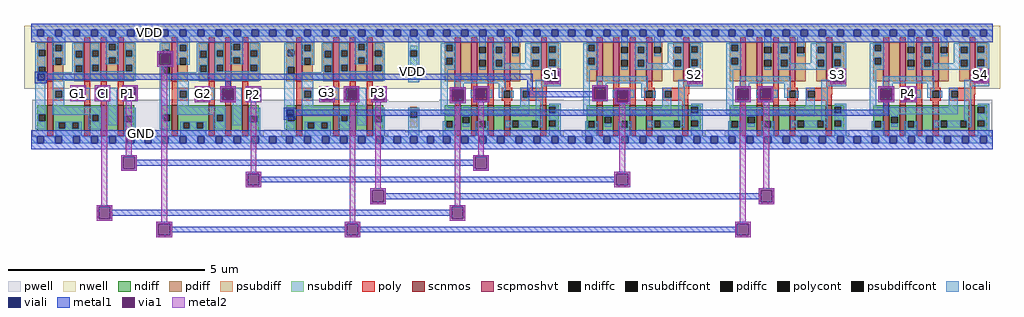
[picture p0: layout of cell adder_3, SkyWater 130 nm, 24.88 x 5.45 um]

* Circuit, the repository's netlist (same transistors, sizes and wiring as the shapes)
* NGSPICE file created from adder_3.ext - technology: sky130A

.subckt sky130_fd_sc_hd__xor2_1 A B VGND VNB VPB VPWR X
X0 X a_35_297# a_285_297# VPB sky130_fd_pr__pfet_01v8_hvt ad=0.3 pd=2.6 as=0.177 ps=1.69 w=1 l=0.15
**devattr s=10400,504 d=12000,520
X1 X B a_285_47# VNB sky130_fd_pr__nfet_01v8 ad=0.25 pd=1.42 as=0.0878 ps=0.92 w=0.65 l=0.15
**devattr s=3510,184 d=10010,284
X2 a_35_297# B VGND VNB sky130_fd_pr__nfet_01v8 ad=0.0878 pd=0.92 as=0.138 ps=1.4 w=0.65 l=0.15
**devattr s=6760,364 d=3510,184
X3 a_117_297# B a_35_297# VPB sky130_fd_pr__pfet_01v8_hvt ad=0.135 pd=1.27 as=0.26 ps=2.52 w=1 l=0.15
**devattr s=10400,504 d=5400,254
X4 VPWR B a_285_297# VPB sky130_fd_pr__pfet_01v8_hvt ad=0.177 pd=1.69 as=0.177 ps=1.69 w=1 l=0.15
**devattr s=5400,254 d=10400,504
X5 VGND A a_35_297# VNB sky130_fd_pr__nfet_01v8 ad=0.138 pd=1.4 as=0.0878 ps=0.92 w=0.65 l=0.15
**devattr s=3510,184 d=3510,184
X6 VGND a_35_297# X VNB sky130_fd_pr__nfet_01v8 ad=0.138 pd=1.4 as=0.25 ps=1.42 w=0.65 l=0.15
**devattr s=10010,284 d=8320,388
X7 a_285_297# A VPWR VPB sky130_fd_pr__pfet_01v8_hvt ad=0.177 pd=1.69 as=0.177 ps=1.69 w=1 l=0.15
**devattr s=5400,254 d=5400,254
X8 VPWR A a_117_297# VPB sky130_fd_pr__pfet_01v8_hvt ad=0.177 pd=1.69 as=0.135 ps=1.27 w=1 l=0.15
**devattr s=5400,254 d=5400,254
X9 a_285_47# A VGND VNB sky130_fd_pr__nfet_01v8 ad=0.0878 pd=0.92 as=0.138 ps=1.4 w=0.65 l=0.15
**devattr s=3510,184 d=3510,184
.ends

.subckt sky130_fd_sc_hd__a21o_1 A1 A2 B1 VGND VNB VPB VPWR X
X0 a_81_21# B1 VGND VNB sky130_fd_pr__nfet_01v8 ad=0.0894 pd=0.925 as=0.229 ps=1.57 w=0.65 l=0.15
**devattr s=10270,288 d=3575,185
X1 a_299_297# B1 a_81_21# VPB sky130_fd_pr__pfet_01v8_hvt ad=0.18 pd=1.69 as=0.26 ps=2.52 w=1 l=0.15
**devattr s=10400,504 d=5500,255
X2 VPWR a_81_21# X VPB sky130_fd_pr__pfet_01v8_hvt ad=0.18 pd=1.69 as=0.26 ps=2.52 w=1 l=0.15
**devattr s=10400,504 d=10400,504
X3 VPWR A1 a_299_297# VPB sky130_fd_pr__pfet_01v8_hvt ad=0.18 pd=1.69 as=0.18 ps=1.69 w=1 l=0.15
**devattr s=5500,255 d=5600,256
X4 VGND a_81_21# X VNB sky130_fd_pr__nfet_01v8 ad=0.229 pd=1.57 as=0.169 ps=1.82 w=0.65 l=0.15
**devattr s=6760,364 d=10270,288
X5 VGND A2 a_384_47# VNB sky130_fd_pr__nfet_01v8 ad=0.229 pd=1.57 as=0.091 ps=0.93 w=0.65 l=0.15
**devattr s=3640,186 d=6890,366
X6 a_299_297# A2 VPWR VPB sky130_fd_pr__pfet_01v8_hvt ad=0.18 pd=1.69 as=0.18 ps=1.69 w=1 l=0.15
**devattr s=5600,256 d=10600,506
X7 a_384_47# A1 a_81_21# VNB sky130_fd_pr__nfet_01v8 ad=0.091 pd=0.93 as=0.0894 ps=0.925 w=0.65 l=0.15
**devattr s=3575,185 d=3640,186
.ends

Xsky130_fd_sc_hd__xor2_1_3 P4 sky130_fd_sc_hd__xor2_1_3/B GND GND VPB VPB S4 sky130_fd_sc_hd__xor2_1
Xsky130_fd_sc_hd__a21o_1_0 CI P1 G1 GND GND VPB VPB sky130_fd_sc_hd__xor2_1_1/B sky130_fd_sc_hd__a21o_1
Xsky130_fd_sc_hd__a21o_1_1 sky130_fd_sc_hd__xor2_1_1/B P2 G2 GND GND VPB VPB sky130_fd_sc_hd__xor2_1_2/B
+ sky130_fd_sc_hd__a21o_1
Xsky130_fd_sc_hd__a21o_1_2 sky130_fd_sc_hd__xor2_1_2/B P3 G3 GND GND VPB VPB sky130_fd_sc_hd__xor2_1_3/B
+ sky130_fd_sc_hd__a21o_1
Xsky130_fd_sc_hd__xor2_1_0 P1 CI GND GND VPB VPB S1 sky130_fd_sc_hd__xor2_1
Xsky130_fd_sc_hd__xor2_1_1 P2 sky130_fd_sc_hd__xor2_1_1/B GND GND VPB VPB S2 sky130_fd_sc_hd__xor2_1
Xsky130_fd_sc_hd__xor2_1_2 P3 sky130_fd_sc_hd__xor2_1_2/B GND GND VPB VPB S3 sky130_fd_sc_hd__xor2_1
.end

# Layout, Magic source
magic
tech sky130A
magscale 1 2
<< nwell >>
rect 570 264 596 585
rect 1212 264 1231 585
rect 1850 580 2110 585
rect 1850 264 1860 580
rect 2736 264 2758 585
rect 3461 264 3484 585
rect 4194 264 4220 585
<< pwell >>
rect 537 51 634 206
rect 1170 51 1269 206
rect 1810 51 1905 200
rect 1971 51 2078 198
rect 2701 51 2804 205
rect 3423 51 3532 206
rect 4152 51 4262 206
<< locali >>
rect 542 530 575 564
rect 610 530 636 564
rect 1171 530 1205 564
rect 1240 530 1269 564
rect 1803 530 1840 564
rect 1875 530 1898 564
rect 1973 530 2010 564
rect 2045 530 2069 564
rect 2704 530 2731 564
rect 2766 530 2798 564
rect 3423 530 3461 564
rect 3496 530 3525 564
rect 4153 530 4186 564
rect 4221 530 4255 564
rect 665 460 699 462
rect 660 430 699 460
rect 690 428 699 430
rect 1300 428 1334 462
rect 690 425 695 428
rect 30 340 64 345
rect 657 325 691 326
rect 542 -14 570 20
rect 605 -14 632 20
rect 1175 -14 1205 20
rect 1240 -14 1268 20
rect 1805 -14 1840 20
rect 1875 -14 1899 20
rect 1984 -14 2010 20
rect 2045 -14 2068 20
rect 2697 -14 2731 20
rect 2766 -14 2793 20
rect 3424 -14 3456 20
rect 3491 -14 3528 20
rect 4159 -14 4186 20
rect 4221 -14 4255 20
<< viali >>
rect 575 530 610 564
rect 1205 530 1240 564
rect 1840 530 1875 564
rect 2010 530 2045 564
rect 2731 530 2766 564
rect 3461 530 3496 564
rect 4186 530 4221 564
rect 655 395 690 430
rect 25 305 60 340
rect 2631 310 2665 344
rect 3356 310 3390 344
rect 4086 310 4120 344
rect 4816 310 4850 344
rect 217 218 251 252
rect 345 218 379 252
rect 473 218 507 252
rect 852 218 886 252
rect 980 218 1014 252
rect 1108 218 1142 252
rect 1487 218 1521 252
rect 1615 218 1649 252
rect 1743 218 1777 252
rect 2149 218 2183 252
rect 2266 218 2300 252
rect 2874 218 2908 252
rect 2991 218 3025 252
rect 3604 218 3638 252
rect 3721 218 3755 252
rect 4334 218 4368 252
rect 4451 218 4485 252
rect 1295 120 1330 155
rect 570 -14 605 20
rect 1205 -14 1240 20
rect 1840 -14 1875 20
rect 2010 -14 2045 20
rect 2731 -14 2766 20
rect 3456 -14 3491 20
rect 4186 -14 4221 20
<< metal1 >>
rect 480 590 520 595
rect 541 564 631 595
rect 541 530 575 564
rect 610 530 631 564
rect 541 499 631 530
rect 1178 564 1270 595
rect 1178 530 1205 564
rect 1240 530 1270 564
rect 1178 499 1270 530
rect 1810 564 1898 595
rect 1810 530 1840 564
rect 1875 530 1898 564
rect 1810 499 1898 530
rect 1982 564 2071 595
rect 1982 530 2010 564
rect 2045 530 2071 564
rect 1982 499 2071 530
rect 2699 564 2793 595
rect 2699 530 2731 564
rect 2766 530 2793 564
rect 2699 499 2793 530
rect 3428 564 3523 595
rect 3428 530 3461 564
rect 3496 530 3523 564
rect 3428 499 3523 530
rect 4158 564 4255 595
rect 4158 530 4186 564
rect 4221 530 4255 564
rect 4158 499 4255 530
rect 635 445 715 455
rect 635 385 645 445
rect 705 385 715 445
rect 635 375 715 385
rect 2611 355 2691 365
rect 10 340 70 350
rect 10 305 25 340
rect 60 310 2550 340
rect 60 305 70 310
rect 10 290 70 305
rect 190 270 270 280
rect 190 210 200 270
rect 260 210 270 270
rect 190 200 270 210
rect 315 270 395 280
rect 315 210 325 270
rect 385 210 395 270
rect 315 200 395 210
rect 455 270 535 280
rect 980 275 1010 310
rect 455 210 465 270
rect 525 210 535 270
rect 455 200 535 210
rect 825 265 905 275
rect 825 205 835 265
rect 895 205 905 265
rect 825 195 905 205
rect 955 265 1035 275
rect 955 205 965 265
rect 1025 205 1035 265
rect 955 195 1035 205
rect 1085 265 1165 275
rect 1085 205 1095 265
rect 1155 205 1165 265
rect 1085 195 1165 205
rect 1460 265 1540 275
rect 1460 205 1470 265
rect 1530 205 1540 265
rect 1460 195 1540 205
rect 1585 265 1665 275
rect 1585 205 1595 265
rect 1655 205 1665 265
rect 1585 195 1665 205
rect 1725 265 1805 275
rect 1725 205 1735 265
rect 1795 205 1805 265
rect 1725 195 1805 205
rect 2126 260 2206 270
rect 2126 200 2136 260
rect 2196 200 2206 260
rect 2126 190 2206 200
rect 2246 265 2326 275
rect 2246 205 2256 265
rect 2316 205 2326 265
rect 2520 250 2550 310
rect 2611 295 2621 355
rect 2681 295 2691 355
rect 2611 285 2691 295
rect 3336 350 3416 360
rect 3336 295 3346 350
rect 3406 295 3416 350
rect 3336 285 3416 295
rect 4066 355 4146 365
rect 4066 295 4076 355
rect 4136 295 4146 355
rect 4066 285 4146 295
rect 4796 355 4876 365
rect 4796 300 4806 355
rect 4866 300 4876 355
rect 4796 290 4876 300
rect 2851 270 2931 280
rect 2851 250 2861 270
rect 2520 220 2861 250
rect 2246 195 2326 205
rect 2851 210 2861 220
rect 2921 210 2931 270
rect 3581 265 3661 275
rect 2851 200 2931 210
rect 2966 255 3046 265
rect 2966 195 2976 255
rect 3036 195 3046 255
rect 3581 205 3591 265
rect 3651 205 3661 265
rect 3581 195 3661 205
rect 3696 265 3776 275
rect 3696 205 3706 265
rect 3766 205 3776 265
rect 3696 195 3776 205
rect 4311 265 4391 275
rect 4311 205 4321 265
rect 4381 205 4391 265
rect 4311 195 4391 205
rect 4426 265 4506 275
rect 4426 205 4436 265
rect 4496 205 4506 265
rect 4426 195 4506 205
rect 2966 185 3046 195
rect 1280 155 1340 165
rect 4335 155 4365 195
rect 1280 120 1295 155
rect 1330 125 4365 155
rect 1330 120 1340 125
rect 1280 105 1340 120
rect 539 20 636 51
rect 539 -14 570 20
rect 605 -14 636 20
rect 539 -45 636 -14
rect 1167 20 1269 51
rect 1167 -14 1205 20
rect 1240 -14 1269 20
rect 1167 -45 1269 -14
rect 1810 20 1902 51
rect 1810 -14 1840 20
rect 1875 -14 1902 20
rect 1810 -45 1902 -14
rect 1978 20 2068 51
rect 1978 -14 2010 20
rect 2045 -14 2068 20
rect 1978 -45 2068 -14
rect 2704 20 2794 51
rect 2704 -14 2731 20
rect 2766 -14 2794 20
rect 2704 -45 2794 -14
rect 3428 20 3524 51
rect 3428 -14 3456 20
rect 3491 -14 3524 20
rect 3428 -45 3524 -14
rect 4158 20 4255 51
rect 4158 -14 4186 20
rect 4221 -14 4255 20
rect 4158 -45 4255 -14
rect 450 -85 530 -75
rect 450 -145 460 -85
rect 520 -100 530 -85
rect 2245 -85 2325 -75
rect 2245 -100 2255 -85
rect 520 -130 2255 -100
rect 520 -145 530 -130
rect 450 -155 530 -145
rect 2245 -145 2255 -130
rect 2315 -145 2325 -85
rect 2245 -155 2325 -145
rect 1085 -170 1165 -160
rect 1085 -230 1095 -170
rect 1155 -185 1165 -170
rect 2965 -170 3045 -160
rect 2965 -185 2975 -170
rect 1155 -215 2975 -185
rect 1155 -230 1165 -215
rect 1085 -240 1165 -230
rect 2965 -230 2975 -215
rect 3035 -230 3045 -170
rect 2965 -240 3045 -230
rect 1720 -255 1800 -245
rect 1720 -315 1730 -255
rect 1790 -270 1800 -255
rect 3700 -255 3780 -245
rect 3700 -270 3710 -255
rect 1790 -300 3710 -270
rect 1790 -315 1800 -300
rect 1720 -325 1800 -315
rect 3700 -315 3710 -300
rect 3770 -315 3780 -255
rect 3700 -325 3780 -315
rect 325 -340 405 -330
rect 325 -400 335 -340
rect 395 -355 405 -340
rect 2125 -340 2205 -330
rect 2125 -355 2135 -340
rect 395 -385 2135 -355
rect 395 -400 405 -385
rect 325 -410 405 -400
rect 2125 -400 2135 -385
rect 2195 -400 2205 -340
rect 2125 -410 2205 -400
rect 630 -425 710 -415
rect 630 -485 640 -425
rect 700 -440 710 -425
rect 1590 -425 1670 -415
rect 1590 -440 1600 -425
rect 700 -470 1600 -440
rect 700 -485 710 -470
rect 630 -495 710 -485
rect 1590 -485 1600 -470
rect 1660 -440 1670 -425
rect 3580 -425 3660 -415
rect 3580 -440 3590 -425
rect 1660 -470 3590 -440
rect 1660 -485 1670 -470
rect 1590 -495 1670 -485
rect 3580 -485 3590 -470
rect 3650 -485 3660 -425
rect 3580 -495 3660 -485
<< via1 >>
rect 645 430 705 445
rect 645 395 655 430
rect 655 395 690 430
rect 690 395 705 430
rect 645 385 705 395
rect 200 252 260 270
rect 200 218 217 252
rect 217 218 251 252
rect 251 218 260 252
rect 200 210 260 218
rect 325 252 385 270
rect 325 218 345 252
rect 345 218 379 252
rect 379 218 385 252
rect 325 210 385 218
rect 465 252 525 270
rect 465 218 473 252
rect 473 218 507 252
rect 507 218 525 252
rect 465 210 525 218
rect 835 252 895 265
rect 835 218 852 252
rect 852 218 886 252
rect 886 218 895 252
rect 835 205 895 218
rect 965 252 1025 265
rect 965 218 980 252
rect 980 218 1014 252
rect 1014 218 1025 252
rect 965 205 1025 218
rect 1095 252 1155 265
rect 1095 218 1108 252
rect 1108 218 1142 252
rect 1142 218 1155 252
rect 1095 205 1155 218
rect 1470 252 1530 265
rect 1470 218 1487 252
rect 1487 218 1521 252
rect 1521 218 1530 252
rect 1470 205 1530 218
rect 1595 252 1655 265
rect 1595 218 1615 252
rect 1615 218 1649 252
rect 1649 218 1655 252
rect 1595 205 1655 218
rect 1735 252 1795 265
rect 1735 218 1743 252
rect 1743 218 1777 252
rect 1777 218 1795 252
rect 1735 205 1795 218
rect 2136 252 2196 260
rect 2136 218 2149 252
rect 2149 218 2183 252
rect 2183 218 2196 252
rect 2136 200 2196 218
rect 2256 252 2316 265
rect 2256 218 2266 252
rect 2266 218 2300 252
rect 2300 218 2316 252
rect 2256 205 2316 218
rect 2621 344 2681 355
rect 2621 310 2631 344
rect 2631 310 2665 344
rect 2665 310 2681 344
rect 2621 295 2681 310
rect 3346 344 3406 350
rect 3346 310 3356 344
rect 3356 310 3390 344
rect 3390 310 3406 344
rect 3346 295 3406 310
rect 4076 344 4136 355
rect 4076 310 4086 344
rect 4086 310 4120 344
rect 4120 310 4136 344
rect 4076 295 4136 310
rect 4806 344 4866 355
rect 4806 310 4816 344
rect 4816 310 4850 344
rect 4850 310 4866 344
rect 4806 300 4866 310
rect 2861 252 2921 270
rect 2861 218 2874 252
rect 2874 218 2908 252
rect 2908 218 2921 252
rect 2861 210 2921 218
rect 2976 252 3036 255
rect 2976 218 2991 252
rect 2991 218 3025 252
rect 3025 218 3036 252
rect 2976 195 3036 218
rect 3591 252 3651 265
rect 3591 218 3604 252
rect 3604 218 3638 252
rect 3638 218 3651 252
rect 3591 205 3651 218
rect 3706 252 3766 265
rect 3706 218 3721 252
rect 3721 218 3755 252
rect 3755 218 3766 252
rect 3706 205 3766 218
rect 4321 252 4381 265
rect 4321 218 4334 252
rect 4334 218 4368 252
rect 4368 218 4381 252
rect 4321 205 4381 218
rect 4436 252 4496 265
rect 4436 218 4451 252
rect 4451 218 4485 252
rect 4485 218 4496 252
rect 4436 205 4496 218
rect 460 -145 520 -85
rect 2255 -145 2315 -85
rect 1095 -230 1155 -170
rect 2975 -230 3035 -170
rect 1730 -315 1790 -255
rect 3710 -315 3770 -255
rect 335 -400 395 -340
rect 2135 -400 2195 -340
rect 640 -485 700 -425
rect 1600 -485 1660 -425
rect 3590 -485 3650 -425
<< metal2 >>
rect 635 445 715 455
rect 635 385 645 445
rect 705 385 715 445
rect 635 375 715 385
rect 190 270 270 280
rect 190 210 200 270
rect 260 210 270 270
rect 190 200 270 210
rect 315 270 395 280
rect 315 210 325 270
rect 385 210 395 270
rect 315 200 395 210
rect 455 270 535 280
rect 455 210 465 270
rect 525 210 535 270
rect 455 200 535 210
rect 350 -330 380 200
rect 475 -75 505 200
rect 450 -85 530 -75
rect 450 -145 460 -85
rect 520 -145 530 -85
rect 450 -155 530 -145
rect 325 -340 405 -330
rect 325 -400 335 -340
rect 395 -400 405 -340
rect 325 -410 405 -400
rect 655 -415 685 375
rect 2611 355 2691 365
rect 2611 295 2621 355
rect 2681 295 2691 355
rect 2611 285 2691 295
rect 3336 350 3416 360
rect 3336 295 3346 350
rect 3406 295 3416 350
rect 3336 285 3416 295
rect 4066 355 4146 365
rect 4066 295 4076 355
rect 4136 295 4146 355
rect 4066 285 4146 295
rect 4796 355 4876 365
rect 4796 300 4806 355
rect 4866 300 4876 355
rect 4796 290 4876 300
rect 825 265 905 275
rect 825 205 835 265
rect 895 205 905 265
rect 825 195 905 205
rect 955 265 1035 275
rect 955 205 965 265
rect 1025 205 1035 265
rect 955 195 1035 205
rect 1085 265 1165 275
rect 1085 205 1095 265
rect 1155 205 1165 265
rect 1085 195 1165 205
rect 1460 265 1540 275
rect 1460 205 1470 265
rect 1530 205 1540 265
rect 1460 195 1540 205
rect 1585 265 1665 275
rect 1585 205 1595 265
rect 1655 205 1665 265
rect 1585 195 1665 205
rect 1725 265 1805 275
rect 1725 205 1735 265
rect 1795 205 1805 265
rect 1110 -160 1140 195
rect 1085 -170 1165 -160
rect 1085 -230 1095 -170
rect 1155 -230 1165 -170
rect 1085 -240 1165 -230
rect 1615 -415 1645 195
rect 1725 194 1805 205
rect 2126 260 2206 270
rect 2126 200 2136 260
rect 2196 200 2206 260
rect 1745 -245 1775 194
rect 2126 190 2206 200
rect 2246 265 2326 275
rect 2246 205 2256 265
rect 2316 205 2326 265
rect 2246 195 2326 205
rect 2851 270 2931 280
rect 2851 210 2861 270
rect 2921 210 2931 270
rect 3581 265 3661 275
rect 2851 200 2931 210
rect 2966 255 3046 265
rect 2966 195 2976 255
rect 3036 195 3046 255
rect 3581 205 3591 265
rect 3651 205 3661 265
rect 3581 195 3661 205
rect 3696 265 3776 275
rect 3696 205 3706 265
rect 3766 205 3776 265
rect 3696 195 3776 205
rect 4311 265 4391 275
rect 4311 205 4321 265
rect 4381 205 4391 265
rect 4311 195 4391 205
rect 4426 265 4506 275
rect 4426 205 4436 265
rect 4496 205 4506 265
rect 4426 195 4506 205
rect 1720 -255 1800 -245
rect 1720 -315 1730 -255
rect 1790 -315 1800 -255
rect 1720 -325 1800 -315
rect 2150 -330 2180 190
rect 2270 -75 2300 195
rect 2966 185 3046 195
rect 2245 -85 2325 -75
rect 2245 -145 2255 -85
rect 2315 -145 2325 -85
rect 2245 -155 2325 -145
rect 2990 -160 3020 185
rect 2965 -170 3045 -160
rect 2965 -230 2975 -170
rect 3035 -230 3045 -170
rect 2965 -240 3045 -230
rect 2125 -340 2205 -330
rect 2125 -400 2135 -340
rect 2195 -400 2205 -340
rect 2125 -410 2205 -400
rect 3605 -415 3635 195
rect 3725 -245 3755 195
rect 3700 -255 3780 -245
rect 3700 -315 3710 -255
rect 3770 -315 3780 -255
rect 3700 -325 3780 -315
rect 630 -425 710 -415
rect 630 -485 640 -425
rect 700 -485 710 -425
rect 630 -495 710 -485
rect 1590 -425 1670 -415
rect 1590 -485 1600 -425
rect 1660 -485 1670 -425
rect 1590 -495 1670 -485
rect 3580 -425 3660 -415
rect 3580 -485 3590 -425
rect 3650 -485 3660 -425
rect 3580 -495 3660 -485
use sky130_fd_sc_hd__a21o_1  sky130_fd_sc_hd__a21o_1_0
transform 1 0 -7 0 1 3
box -38 -48 590 592
use sky130_fd_sc_hd__a21o_1  sky130_fd_sc_hd__a21o_1_1
transform 1 0 628 0 1 3
box -38 -48 590 592
use sky130_fd_sc_hd__a21o_1  sky130_fd_sc_hd__a21o_1_2
transform 1 0 1263 0 1 3
box -38 -48 590 592
use sky130_fd_sc_hd__tapvpwrvgnd_1  sky130_fd_sc_hd__tapvpwrvgnd_1_0
transform 1 0 1896 0 1 3
box -38 -48 130 592
use sky130_fd_sc_hd__xor2_1  sky130_fd_sc_hd__xor2_1_0
transform 1 0 2064 0 1 3
box -38 -48 682 592
use sky130_fd_sc_hd__xor2_1  sky130_fd_sc_hd__xor2_1_1
transform 1 0 2789 0 1 3
box -38 -48 682 592
use sky130_fd_sc_hd__xor2_1  sky130_fd_sc_hd__xor2_1_2
transform 1 0 3519 0 1 3
box -38 -48 682 592
use sky130_fd_sc_hd__xor2_1  sky130_fd_sc_hd__xor2_1_3
transform 1 0 4249 0 1 3
box -38 -48 682 592
<< labels >>
flabel via1 490 240 490 240 1 FreeSans 128 0 0 0 P1
port 2 n
flabel via1 360 240 360 240 1 FreeSans 160 0 0 0 CI
port 1 n
flabel via1 1125 235 1125 235 1 FreeSans 240 0 0 0 P2
port 4 n
flabel via1 234 240 234 240 1 FreeSans 128 0 0 0 G1
port 3 n
flabel via1 870 240 870 240 1 FreeSans 160 0 0 0 G2
port 5 n
flabel via1 1760 245 1760 245 1 FreeSans 128 0 0 0 P3
port 6 n
flabel via1 1500 245 1500 245 1 FreeSans 128 0 0 0 G3
port 7 n
flabel metal1 s 555 35 555 35 1 FreeSans 160 0 0 0 GND
port 16 n
flabel viali s 595 550 595 550 1 FreeSans 160 0 0 0 VDD
port 15 n
flabel via1 3371 335 3371 335 1 FreeSans 128 0 0 0 S2
port 11 n
flabel via1 4101 335 4101 335 1 FreeSans 160 0 0 0 S3
port 12 n
flabel via1 4831 335 4831 335 1 FreeSans 160 0 0 0 S4
port 13 n
flabel via1 2646 335 2646 335 1 FreeSans 128 0 0 0 S1
port 10 n
flabel via1 4467 241 4467 241 1 FreeSans 64 0 0 0 P4
port 8 n
flabel viali 1935 350 1935 350 1 FreeSans 160 0 0 0 VDD
<< end >>

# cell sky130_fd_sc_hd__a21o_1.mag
magic
tech sky130A
magscale 1 2
<< nwell >>
rect -38 261 590 582
<< pwell >>
rect 3 21 549 203
rect 29 -17 63 21
<< scnmos >>
rect 81 47 111 177
rect 269 47 299 177
rect 354 47 384 177
rect 440 47 470 177
<< scpmoshvt >>
rect 81 297 111 497
rect 269 297 299 497
rect 354 297 384 497
rect 440 297 470 497
<< ndiff >>
rect 29 129 81 177
rect 29 95 37 129
rect 71 95 81 129
rect 29 47 81 95
rect 111 89 269 177
rect 111 55 139 89
rect 173 55 207 89
rect 241 55 269 89
rect 111 47 269 55
rect 299 127 354 177
rect 299 93 309 127
rect 343 93 354 127
rect 299 47 354 93
rect 384 47 440 177
rect 470 123 523 177
rect 470 89 481 123
rect 515 89 523 123
rect 470 47 523 89
<< pdiff >>
rect 29 459 81 497
rect 29 425 37 459
rect 71 425 81 459
rect 29 371 81 425
rect 29 337 37 371
rect 71 337 81 371
rect 29 297 81 337
rect 111 485 163 497
rect 111 451 121 485
rect 155 451 163 485
rect 111 417 163 451
rect 111 383 121 417
rect 155 383 163 417
rect 111 297 163 383
rect 217 453 269 497
rect 217 419 225 453
rect 259 419 269 453
rect 217 379 269 419
rect 217 345 225 379
rect 259 345 269 379
rect 217 297 269 345
rect 299 457 354 497
rect 299 423 309 457
rect 343 423 354 457
rect 299 383 354 423
rect 299 349 309 383
rect 343 349 354 383
rect 299 297 354 349
rect 384 489 440 497
rect 384 455 395 489
rect 429 455 440 489
rect 384 421 440 455
rect 384 387 395 421
rect 429 387 440 421
rect 384 297 440 387
rect 470 457 523 497
rect 470 423 481 457
rect 515 423 523 457
rect 470 383 523 423
rect 470 349 481 383
rect 515 349 523 383
rect 470 297 523 349
<< ndiffc >>
rect 37 95 71 129
rect 139 55 173 89
rect 207 55 241 89
rect 309 93 343 127
rect 481 89 515 123
<< pdiffc >>
rect 37 425 71 459
rect 37 337 71 371
rect 121 451 155 485
rect 121 383 155 417
rect 225 419 259 453
rect 225 345 259 379
rect 309 423 343 457
rect 309 349 343 383
rect 395 455 429 489
rect 395 387 429 421
rect 481 423 515 457
rect 481 349 515 383
<< poly >>
rect 81 497 111 523
rect 269 497 299 523
rect 354 497 384 523
rect 440 497 470 523
rect 81 265 111 297
rect 269 265 299 297
rect 354 265 384 297
rect 440 265 470 297
rect 81 249 166 265
rect 81 215 122 249
rect 156 215 166 249
rect 81 199 166 215
rect 214 249 299 265
rect 214 215 224 249
rect 258 215 299 249
rect 214 199 299 215
rect 342 249 396 265
rect 342 215 352 249
rect 386 215 396 249
rect 342 199 396 215
rect 440 249 524 265
rect 440 215 480 249
rect 514 215 524 249
rect 440 199 524 215
rect 81 177 111 199
rect 269 177 299 199
rect 354 177 384 199
rect 440 177 470 199
rect 81 21 111 47
rect 269 21 299 47
rect 354 21 384 47
rect 440 21 470 47
<< polycont >>
rect 122 215 156 249
rect 224 215 258 249
rect 352 215 386 249
rect 480 215 514 249
<< locali >>
rect 0 527 29 561
rect 63 527 121 561
rect 155 527 213 561
rect 247 527 305 561
rect 339 527 397 561
rect 431 527 489 561
rect 523 527 552 561
rect 19 459 71 491
rect 19 425 37 459
rect 19 371 71 425
rect 105 485 173 527
rect 105 451 121 485
rect 155 451 173 485
rect 105 417 173 451
rect 105 383 121 417
rect 155 383 173 417
rect 105 381 173 383
rect 209 453 263 491
rect 209 419 225 453
rect 259 419 263 453
rect 19 337 37 371
rect 209 379 263 419
rect 209 345 225 379
rect 259 345 263 379
rect 19 129 71 337
rect 19 95 37 129
rect 109 301 263 345
rect 299 457 345 491
rect 299 423 309 457
rect 343 423 345 457
rect 299 383 345 423
rect 379 489 445 527
rect 379 455 395 489
rect 429 455 445 489
rect 379 421 445 455
rect 379 387 395 421
rect 429 387 445 421
rect 379 385 445 387
rect 479 457 531 491
rect 479 423 481 457
rect 515 423 531 457
rect 299 349 309 383
rect 343 349 345 383
rect 479 383 531 423
rect 479 349 481 383
rect 515 349 531 383
rect 299 301 531 349
rect 109 249 167 301
rect 109 215 122 249
rect 156 215 167 249
rect 109 167 167 215
rect 203 249 296 265
rect 203 215 224 249
rect 258 215 296 249
rect 203 203 296 215
rect 332 249 437 265
rect 332 215 352 249
rect 386 215 437 249
rect 332 203 437 215
rect 109 127 355 167
rect 19 53 71 95
rect 293 93 309 127
rect 343 93 355 127
rect 123 89 257 91
rect 123 55 139 89
rect 173 55 207 89
rect 241 55 257 89
rect 123 17 257 55
rect 293 53 355 93
rect 391 75 437 203
rect 473 249 533 265
rect 473 215 480 249
rect 514 215 533 249
rect 473 199 533 215
rect 473 123 531 163
rect 473 89 481 123
rect 515 89 531 123
rect 473 17 531 89
rect 0 -17 29 17
rect 63 -17 121 17
rect 155 -17 213 17
rect 247 -17 305 17
rect 339 -17 397 17
rect 431 -17 489 17
rect 523 -17 552 17
<< viali >>
rect 29 527 63 561
rect 121 527 155 561
rect 213 527 247 561
rect 305 527 339 561
rect 397 527 431 561
rect 489 527 523 561
rect 29 -17 63 17
rect 121 -17 155 17
rect 213 -17 247 17
rect 305 -17 339 17
rect 397 -17 431 17
rect 489 -17 523 17
<< metal1 >>
rect 0 561 552 592
rect 0 527 29 561
rect 63 527 121 561
rect 155 527 213 561
rect 247 527 305 561
rect 339 527 397 561
rect 431 527 489 561
rect 523 527 552 561
rect 0 496 552 527
rect 0 17 552 48
rect 0 -17 29 17
rect 63 -17 121 17
rect 155 -17 213 17
rect 247 -17 305 17
rect 339 -17 397 17
rect 431 -17 489 17
rect 523 -17 552 17
rect 0 -48 552 -17
<< labels >>
flabel locali s 489 221 523 255 0 FreeSans 200 0 0 0 A2
port 2 nsew signal input
flabel locali s 397 85 431 119 0 FreeSans 200 0 0 0 A1
port 1 nsew signal input
flabel locali s 397 153 431 187 0 FreeSans 200 0 0 0 A1
port 1 nsew signal input
flabel locali s 397 221 431 255 0 FreeSans 200 0 0 0 A1
port 1 nsew signal input
flabel locali s 213 221 247 255 0 FreeSans 200 0 0 0 B1
port 3 nsew signal input
flabel locali s 29 85 63 119 0 FreeSans 200 0 0 0 X
port 8 nsew signal output
flabel locali s 29 425 63 459 0 FreeSans 200 0 0 0 X
port 8 nsew signal output
flabel locali s 29 357 63 391 0 FreeSans 200 0 0 0 X
port 8 nsew signal output
flabel locali s 29 289 63 323 0 FreeSans 200 0 0 0 X
port 8 nsew signal output
flabel locali s 29 221 63 255 0 FreeSans 200 0 0 0 X
port 8 nsew signal output
flabel locali s 29 153 63 187 0 FreeSans 200 0 0 0 X
port 8 nsew signal output
flabel metal1 s 29 527 63 561 0 FreeSans 200 0 0 0 VPWR
port 7 nsew power bidirectional abutment
flabel metal1 s 29 -17 63 17 0 FreeSans 200 0 0 0 VGND
port 4 nsew ground bidirectional abutment
flabel nwell s 29 527 63 561 0 FreeSans 200 0 0 0 VPB
port 6 nsew power bidirectional
flabel pwell s 29 -17 63 17 0 FreeSans 200 0 0 0 VNB
port 5 nsew ground bidirectional
rlabel comment s 0 0 0 0 4 a21o_1
rlabel metal1 s 0 -48 552 48 1 VGND
port 4 nsew ground bidirectional abutment
rlabel metal1 s 0 496 552 592 1 VPWR
port 7 nsew power bidirectional abutment
<< properties >>
string FIXED_BBOX 0 0 552 544
string GDS_END 4032046
string GDS_FILE $PDKPATH/libs.ref/sky130_fd_sc_hd/gds/sky130_fd_sc_hd.gds
string GDS_START 4026056
string LEFclass CORE
string LEFsite unithd
string LEFsymmetry X Y R90
string path 0.000 13.600 13.800 13.600 
<< end >>

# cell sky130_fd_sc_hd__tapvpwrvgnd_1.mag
magic
tech sky130A
magscale 1 2
<< nwell >>
rect -38 261 130 582
<< pwell >>
rect 3 38 89 195
<< psubdiff >>
rect 29 145 63 169
rect 29 64 63 111
<< nsubdiff >>
rect 29 456 63 480
rect 29 363 63 422
rect 29 305 63 329
<< psubdiffcont >>
rect 29 111 63 145
<< nsubdiffcont >>
rect 29 422 63 456
rect 29 329 63 363
<< locali >>
rect 0 527 29 561
rect 63 527 92 561
rect 17 456 75 527
rect 17 422 29 456
rect 63 422 75 456
rect 17 363 75 422
rect 17 329 29 363
rect 63 329 75 363
rect 17 294 75 329
rect 17 145 75 162
rect 17 111 29 145
rect 63 111 75 145
rect 17 17 75 111
rect 0 -17 29 17
rect 63 -17 92 17
<< viali >>
rect 29 527 63 561
rect 29 -17 63 17
<< metal1 >>
rect 0 561 92 592
rect 0 527 29 561
rect 63 527 92 561
rect 0 496 92 527
rect 0 17 92 48
rect 0 -17 29 17
rect 63 -17 92 17
rect 0 -48 92 -17
<< labels >>
flabel metal1 s 22 524 75 553 0 FreeSans 200 0 0 0 VPWR
port 2 nsew power bidirectional abutment
flabel metal1 s 21 -18 72 20 0 FreeSans 200 0 0 0 VGND
port 1 nsew ground bidirectional abutment
rlabel comment s 0 0 0 0 4 tapvpwrvgnd_1
rlabel metal1 s 0 -48 92 48 1 VGND
port 1 nsew ground bidirectional abutment
rlabel metal1 s 0 496 92 592 1 VPWR
port 2 nsew power bidirectional abutment
<< properties >>
string FIXED_BBOX 0 0 92 544
string GDS_END 626290
string GDS_FILE $PDKPATH/libs.ref/sky130_fd_sc_hd/gds/sky130_fd_sc_hd.gds
string GDS_START 624670
string LEFclass CORE WELLTAP
string LEFsite unithd
string LEFsymmetry X Y R90
string MASKHINTS_PSDM 0 38 92 195
string MASKHINTS_NSDM 0 279 92 506
<< end >>

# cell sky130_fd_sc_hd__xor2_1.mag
magic
tech sky130A
magscale 1 2
<< nwell >>
rect -38 261 682 582
<< pwell >>
rect 9 21 643 203
rect 29 -17 63 21
<< scnmos >>
rect 87 47 117 177
rect 171 47 201 177
rect 255 47 285 177
rect 339 47 369 177
rect 523 47 553 177
<< scpmoshvt >>
rect 87 297 117 497
rect 171 297 201 497
rect 255 297 285 497
rect 339 297 369 497
rect 527 297 557 497
<< ndiff >>
rect 35 95 87 177
rect 35 61 43 95
rect 77 61 87 95
rect 35 47 87 61
rect 117 117 171 177
rect 117 83 127 117
rect 161 83 171 117
rect 117 47 171 83
rect 201 95 255 177
rect 201 61 211 95
rect 245 61 255 95
rect 201 47 255 61
rect 285 47 339 177
rect 369 97 523 177
rect 369 63 379 97
rect 413 63 479 97
rect 513 63 523 97
rect 369 47 523 63
rect 553 168 617 177
rect 553 134 569 168
rect 603 134 617 168
rect 553 100 617 134
rect 553 66 569 100
rect 603 66 617 100
rect 553 47 617 66
<< pdiff >>
rect 35 485 87 497
rect 35 451 43 485
rect 77 451 87 485
rect 35 417 87 451
rect 35 383 43 417
rect 77 383 87 417
rect 35 297 87 383
rect 117 297 171 497
rect 201 475 255 497
rect 201 441 211 475
rect 245 441 255 475
rect 201 407 255 441
rect 201 373 211 407
rect 245 373 255 407
rect 201 297 255 373
rect 285 475 339 497
rect 285 441 295 475
rect 329 441 339 475
rect 285 407 339 441
rect 285 373 295 407
rect 329 373 339 407
rect 285 297 339 373
rect 369 475 421 497
rect 369 441 379 475
rect 413 441 421 475
rect 369 297 421 441
rect 475 475 527 497
rect 475 441 483 475
rect 517 441 527 475
rect 475 407 527 441
rect 475 373 483 407
rect 517 373 527 407
rect 475 297 527 373
rect 557 477 617 497
rect 557 443 567 477
rect 601 443 617 477
rect 557 409 617 443
rect 557 375 567 409
rect 601 375 617 409
rect 557 341 617 375
rect 557 307 567 341
rect 601 307 617 341
rect 557 297 617 307
<< ndiffc >>
rect 43 61 77 95
rect 127 83 161 117
rect 211 61 245 95
rect 379 63 413 97
rect 479 63 513 97
rect 569 134 603 168
rect 569 66 603 100
<< pdiffc >>
rect 43 451 77 485
rect 43 383 77 417
rect 211 441 245 475
rect 211 373 245 407
rect 295 441 329 475
rect 295 373 329 407
rect 379 441 413 475
rect 483 441 517 475
rect 483 373 517 407
rect 567 443 601 477
rect 567 375 601 409
rect 567 307 601 341
<< poly >>
rect 87 497 117 523
rect 171 497 201 523
rect 255 497 285 523
rect 339 497 369 523
rect 527 497 557 523
rect 87 265 117 297
rect 171 265 201 297
rect 255 265 285 297
rect 339 265 369 297
rect 527 265 557 297
rect 75 249 129 265
rect 75 215 85 249
rect 119 215 129 249
rect 75 199 129 215
rect 171 249 285 265
rect 171 215 202 249
rect 236 215 285 249
rect 171 199 285 215
rect 327 249 381 265
rect 327 215 337 249
rect 371 215 381 249
rect 327 199 381 215
rect 423 249 557 265
rect 423 215 433 249
rect 467 232 557 249
rect 467 215 553 232
rect 423 199 553 215
rect 87 177 117 199
rect 171 177 201 199
rect 255 177 285 199
rect 339 177 369 199
rect 523 177 553 199
rect 87 21 117 47
rect 171 21 201 47
rect 255 21 285 47
rect 339 21 369 47
rect 523 21 553 47
<< polycont >>
rect 85 215 119 249
rect 202 215 236 249
rect 337 215 371 249
rect 433 215 467 249
<< locali >>
rect 0 527 29 561
rect 63 527 121 561
rect 155 527 213 561
rect 247 527 305 561
rect 339 527 397 561
rect 431 527 489 561
rect 523 527 581 561
rect 615 527 644 561
rect 17 485 93 493
rect 17 451 43 485
rect 77 451 93 485
rect 17 417 93 451
rect 17 383 43 417
rect 77 383 93 417
rect 17 357 93 383
rect 211 475 245 527
rect 211 407 245 441
rect 211 357 245 373
rect 279 475 345 493
rect 279 441 295 475
rect 329 441 345 475
rect 279 407 345 441
rect 379 475 413 527
rect 379 425 413 441
rect 447 475 527 493
rect 447 441 483 475
rect 517 441 527 475
rect 279 373 295 407
rect 329 391 345 407
rect 447 407 527 441
rect 447 391 483 407
rect 329 373 483 391
rect 517 373 527 407
rect 279 357 527 373
rect 563 477 627 493
rect 563 443 567 477
rect 601 443 627 477
rect 563 409 627 443
rect 563 375 567 409
rect 601 375 627 409
rect 17 165 51 357
rect 563 341 627 375
rect 85 289 346 323
rect 563 307 567 341
rect 601 307 627 341
rect 85 249 134 289
rect 119 215 134 249
rect 168 249 278 255
rect 168 215 202 249
rect 236 215 278 249
rect 312 249 346 289
rect 501 273 627 307
rect 421 249 467 265
rect 312 215 337 249
rect 371 215 387 249
rect 421 215 433 249
rect 85 199 134 215
rect 421 165 467 215
rect 17 131 467 165
rect 127 117 161 131
rect 27 61 43 95
rect 77 61 93 95
rect 501 97 535 273
rect 127 67 161 83
rect 27 17 93 61
rect 195 61 211 95
rect 245 61 261 95
rect 344 63 379 97
rect 413 63 479 97
rect 513 63 535 97
rect 569 168 627 184
rect 603 134 627 168
rect 569 100 627 134
rect 603 66 627 100
rect 195 17 261 61
rect 569 17 627 66
rect 0 -17 29 17
rect 63 -17 121 17
rect 155 -17 213 17
rect 247 -17 305 17
rect 339 -17 397 17
rect 431 -17 489 17
rect 523 -17 581 17
rect 615 -17 644 17
<< viali >>
rect 29 527 63 561
rect 121 527 155 561
rect 213 527 247 561
rect 305 527 339 561
rect 397 527 431 561
rect 489 527 523 561
rect 581 527 615 561
rect 29 -17 63 17
rect 121 -17 155 17
rect 213 -17 247 17
rect 305 -17 339 17
rect 397 -17 431 17
rect 489 -17 523 17
rect 581 -17 615 17
<< metal1 >>
rect 0 561 644 592
rect 0 527 29 561
rect 63 527 121 561
rect 155 527 213 561
rect 247 527 305 561
rect 339 527 397 561
rect 431 527 489 561
rect 523 527 581 561
rect 615 527 644 561
rect 0 496 644 527
rect 0 17 644 48
rect 0 -17 29 17
rect 63 -17 121 17
rect 155 -17 213 17
rect 247 -17 305 17
rect 339 -17 397 17
rect 431 -17 489 17
rect 523 -17 581 17
rect 615 -17 644 17
rect 0 -48 644 -17
<< labels >>
flabel locali s 121 289 155 323 0 FreeSans 200 0 0 0 B
port 2 nsew signal input
flabel locali s 581 289 615 323 0 FreeSans 200 0 0 0 X
port 7 nsew signal output
flabel locali s 213 221 247 255 0 FreeSans 200 0 0 0 A
port 1 nsew signal input
flabel pwell s 29 -17 63 17 0 FreeSans 200 0 0 0 VNB
port 4 nsew ground bidirectional
flabel nwell s 29 527 63 561 0 FreeSans 200 0 0 0 VPB
port 5 nsew power bidirectional
flabel metal1 s 29 527 63 561 0 FreeSans 200 0 0 0 VPWR
port 6 nsew power bidirectional abutment
flabel metal1 s 29 -17 63 17 0 FreeSans 200 0 0 0 VGND
port 3 nsew ground bidirectional abutment
rlabel comment s 0 0 0 0 4 xor2_1
rlabel metal1 s 0 -48 644 48 1 VGND
port 3 nsew ground bidirectional abutment
rlabel metal1 s 0 496 644 592 1 VPWR
port 6 nsew power bidirectional abutment
<< properties >>
string FIXED_BBOX 0 0 644 544
string GDS_END 637768
string GDS_FILE $PDKPATH/libs.ref/sky130_fd_sc_hd/gds/sky130_fd_sc_hd.gds
string GDS_START 632386
string LEFclass CORE
string LEFsite unithd
string LEFsymmetry X Y R90
string path 0.000 2.720 3.220 2.720 
<< end >>
